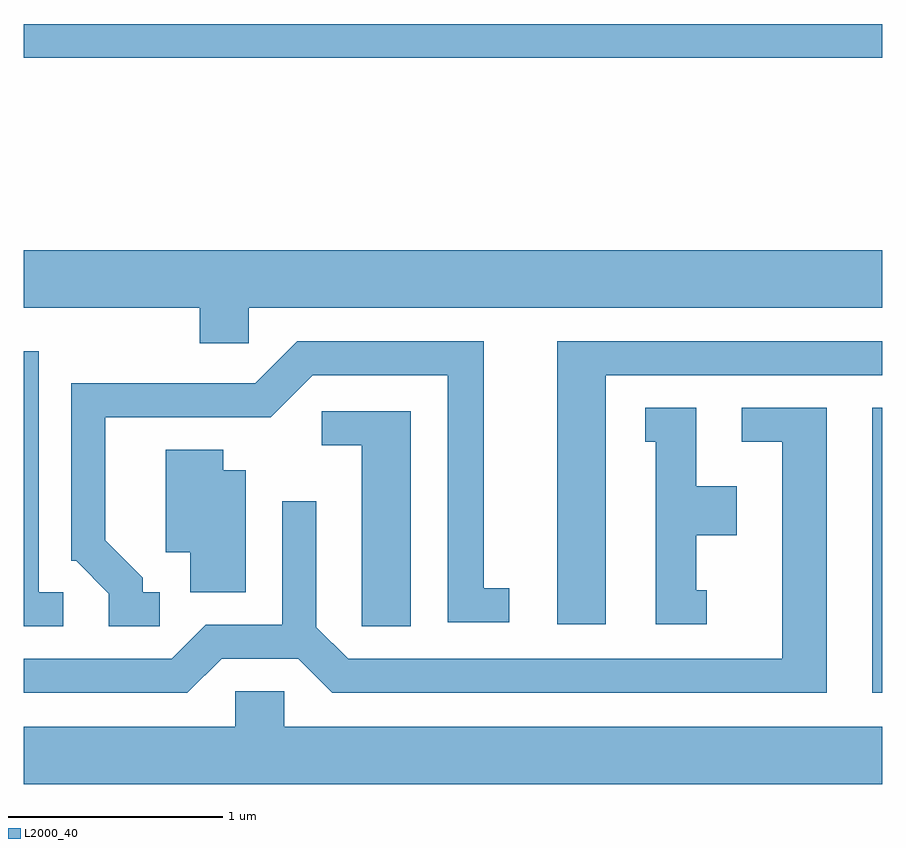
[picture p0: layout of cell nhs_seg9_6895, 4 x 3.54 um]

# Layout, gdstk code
import gdstk
lib = gdstk.Library(unit=1e-6, precision=1e-09)
def R(c, l, rs):  # rectangles x0, y0, x1, y1
    for r in rs: c.add(gdstk.rectangle(r[:2], r[2:], *l))
def P(c, l, *ps):  # polygons
    for p in ps: c.add(gdstk.Polygon(p, *l))
L2000_40 = (2000, 40)

nhs_seg9_6895 = lib.new_cell('nhs_seg9_6895')
R(nhs_seg9_6895, L2000_40, [(393.566,1961.161,393.611,1962.489), (389.611,1964.121,393.611,1964.279)])
P(nhs_seg9_6895, L2000_40, [(390.659,1962.956),(393.611,1962.956),(393.611,1963.224),(389.611,1963.224),(389.611,1962.956),(390.431,1962.956),(390.431,1962.791),(390.659,1962.791)],
  [(392.324,1962.641),(393.611,1962.641),(393.611,1962.799),(392.096,1962.799),(392.096,1961.481),(392.324,1961.481)],
  [(390.243,1961.629),(390.164,1961.629),(390.164,1961.697),(389.989,1961.872),(389.989,1962.446),(390.762,1962.446),(390.957,1962.641),(391.586,1962.641),(391.586,1961.491),(391.873,1961.491),(391.873,1961.649),(391.754,1961.649),(391.754,1962.799),(390.884,1962.799),(390.689,1962.604),(389.831,1962.604),(389.831,1961.776),(389.854,1961.776),(390.006,1961.624),(390.006,1961.471),(390.243,1961.471)],
  [(389.793,1961.629),(389.679,1961.629),(389.679,1962.754),(389.611,1962.754),(389.611,1961.471),(389.793,1961.471)],
  [(392.793,1961.639),(392.744,1961.639),(392.744,1961.896),(392.934,1961.896),(392.934,1962.124),(392.744,1962.124),(392.744,1962.489),(392.508,1962.489),(392.508,1962.331),(392.556,1962.331),(392.556,1961.481),(392.793,1961.481)],
  [(390.532,1961.321),(390.889,1961.321),(391.049,1961.161),(393.354,1961.161),(393.354,1962.489),(392.958,1962.489),(392.958,1962.331),(393.146,1962.331),(393.146,1961.319),(391.122,1961.319),(390.974,1961.467),(390.974,1962.053),(390.816,1962.053),(390.816,1961.479),(390.459,1961.479),(390.299,1961.319),(389.611,1961.319),(389.611,1961.161),(390.372,1961.161)],
  [(391.414,1962.474),(390.998,1962.474),(390.998,1962.316),(391.186,1962.316),(391.186,1961.471),(391.414,1961.471)],
  [(390.644,1962.199),(390.539,1962.199),(390.539,1962.294),(390.271,1962.294),(390.271,1961.816),(390.386,1961.816),(390.386,1961.631),(390.644,1961.631)],
  [(393.611,1961.004),(390.824,1961.004),(390.824,1961.169),(390.596,1961.169),(390.596,1961.004),(389.611,1961.004),(389.611,1960.736),(393.611,1960.736)])

lib.write_gds('nhs_seg9_6895.gds')
